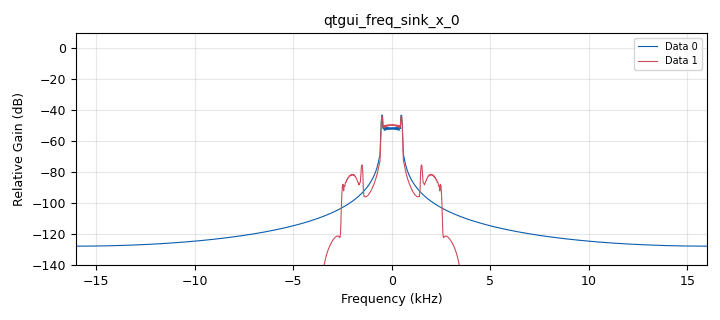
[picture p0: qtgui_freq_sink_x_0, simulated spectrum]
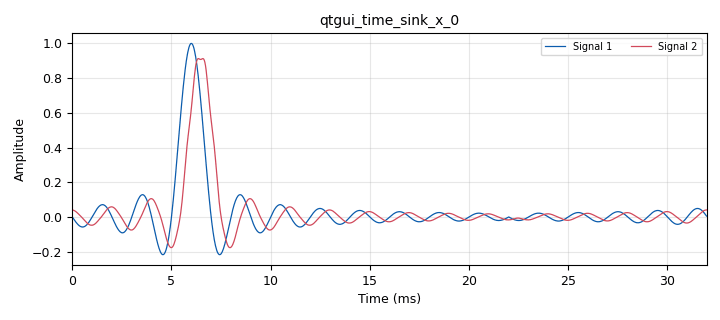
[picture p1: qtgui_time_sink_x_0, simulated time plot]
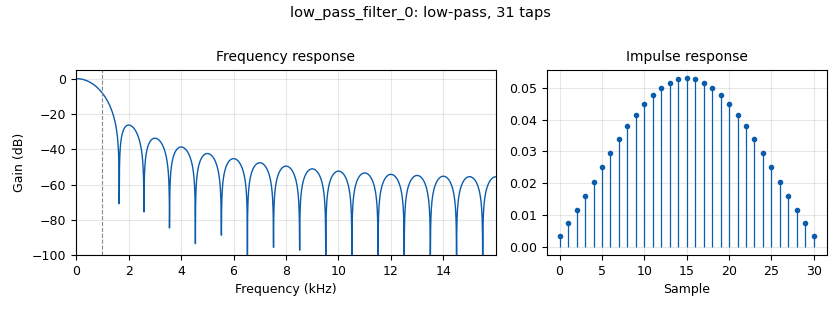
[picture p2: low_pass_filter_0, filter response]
options:
  parameters:
    author: aruncs
    generate_options: qt_gui
    id: demo
    output_language: python
    title: Not titled yet
  states: {}

blocks:
- name: fc
  id: variable_qtgui_range
  parameters:
    start: 1e3
    step: '1'
    stop: 1e6
    value: 1e3
  states: {}
- name: samp_rate
  id: variable
  parameters:
    value: '32000'
  states: {}
- name: t_vals
  id: variable
  parameters:
    value: np.arange(-512,512)/32
  states: {}
- name: analog_sig_source_x_0
  id: analog_sig_source_x
  parameters:
    amp: '1.414'
    freq: fc
    offset: '0'
    phase: '0'
    samp_rate: samp_rate
    type: float
    waveform: analog.GR_COS_WAVE
  states: {}
- name: blocks_multiply_xx_0
  id: blocks_multiply_xx
  parameters:
    type: float
  states: {}
- name: blocks_multiply_xx_1
  id: blocks_multiply_xx
  parameters:
    type: float
  states: {}
- name: blocks_vector_source_x_0
  id: blocks_vector_source_x
  parameters:
    repeat: 'True'
    type: float
    vector: np.sinc(t_vals)
  states: {}
- name: import_0
  id: import
  parameters:
    imports: import numpy as np
  states: {}
- name: low_pass_filter_0
  id: low_pass_filter
  parameters:
    cutoff_freq: fc
    gain: '1'
    interp: '1'
    samp_rate: samp_rate
    type: interp_fir_filter_fff
    width: '1000'
    win: window.WIN_RECTANGULAR
  states: {}
- name: qtgui_freq_sink_x_0
  id: qtgui_freq_sink_x
  parameters:
    bw: samp_rate
    fc: '0'
    fftsize: '1024'
    grid: 'True'
    nconnections: '2'
    type: float
  states: {}
- name: qtgui_time_sink_x_0
  id: qtgui_time_sink_x
  parameters:
    autoscale: 'True'
    grid: 'True'
    nconnections: '2'
    size: '1024'
    srate: samp_rate
    type: float
  states: {}

connections:
- [analog_sig_source_x_0, '0', blocks_multiply_xx_0, '0']
- [analog_sig_source_x_0, '0', blocks_multiply_xx_1, '1']
- [blocks_multiply_xx_0, '0', blocks_multiply_xx_1, '0']
- [blocks_multiply_xx_1, '0', low_pass_filter_0, '0']
- [blocks_vector_source_x_0, '0', blocks_multiply_xx_0, '1']
- [blocks_vector_source_x_0, '0', qtgui_freq_sink_x_0, '0']
- [blocks_vector_source_x_0, '0', qtgui_time_sink_x_0, '0']
- [low_pass_filter_0, '0', qtgui_freq_sink_x_0, '1']
- [low_pass_filter_0, '0', qtgui_time_sink_x_0, '1']

metadata:
  file_format: 1
  grc_version: 3.10.11.0
